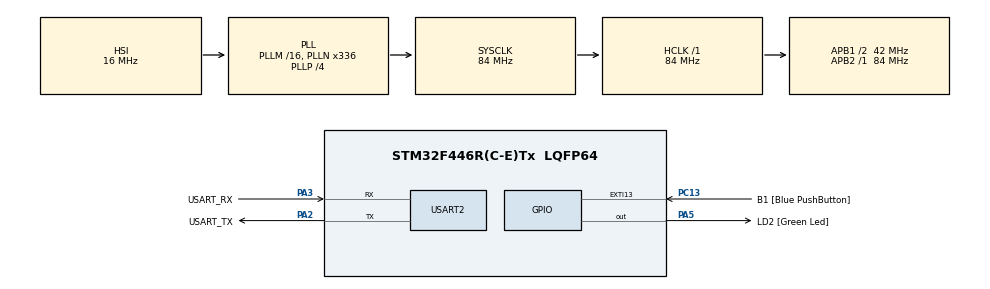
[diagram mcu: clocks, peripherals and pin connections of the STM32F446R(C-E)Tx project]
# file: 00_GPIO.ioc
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Mcu.Family=STM32F4
Mcu.Name=STM32F446R(C-E)Tx
Mcu.Package=LQFP64
NVIC.PriorityGroup=NVIC_PRIORITYGROUP_0
PA13.GPIO_Label=TMS
PA13.Mode=Serial_Wire
PA13.Signal=SYS_JTMS-SWDIO
PA14.GPIO_Label=TCK
PA14.Mode=Serial_Wire
PA14.Signal=SYS_JTCK-SWCLK
PA2.GPIO_Label=USART_TX
PA2.Mode=Asynchronous
PA2.Signal=USART2_TX
PA3.GPIO_Label=USART_RX
PA3.Mode=Asynchronous
PA3.Signal=USART2_RX
PA5.GPIO_Label=LD2 [Green Led]
PA5.Signal=GPIO_Output
PB3.GPIO_Label=SWO
PB3.Signal=SYS_JTDO-SWO
PC13.GPIO_Label=B1 [Blue PushButton]
PC13.GPIO_ModeDefaultEXTI=GPIO_MODE_IT_FALLING
PC13.Signal=GPXTI13
PC14-OSC32_IN.Mode=LSE-External-Oscillator
PC14-OSC32_IN.Signal=RCC_OSC32_IN
PC15-OSC32_OUT.Mode=LSE-External-Oscillator
PC15-OSC32_OUT.Signal=RCC_OSC32_OUT
PH0-OSC_IN.Mode=HSE-External-Oscillator
PH0-OSC_IN.Signal=RCC_OSC_IN
PH1-OSC_OUT.Mode=HSE-External-Oscillator
PH1-OSC_OUT.Signal=RCC_OSC_OUT
ProjectManager.HeapSize=0x200
ProjectManager.StackSize=0x400
ProjectManager.TargetToolchain=STM32CubeIDE
RCC.48MHZClocksFreq_Value=84000000
RCC.AHBFreq_Value=84000000
RCC.APB1CLKDivider=RCC_HCLK_DIV2
RCC.APB1Freq_Value=42000000
RCC.APB1TimFreq_Value=84000000
RCC.APB2Freq_Value=84000000
RCC.APB2TimFreq_Value=84000000
RCC.CortexFreq_Value=84000000
RCC.FLatency-AdvancedSettings=FLASH_LATENCY_2
RCC.HCLKFreq_Value=84000000
RCC.HSE_VALUE=8000000
RCC.HSI_VALUE=16000000
RCC.PLLN=336
RCC.PLLP=RCC_PLLP_DIV4
RCC.SYSCLKFreq_VALUE=84000000
RCC.SYSCLKSource=RCC_SYSCLKSOURCE_PLLCLK
RCC.USBFreq_Value=168000000
RCC.VCOOutputFreq_Value=336000000
USART2.VirtualMode=VM_ASYNC
board=NUCLEO-F446RE

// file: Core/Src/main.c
/* USER CODE BEGIN Header */
/**
  ******************************************************************************
  * @file           : main.c
  * @brief          : Main program body
  ******************************************************************************
  * @attention
  *
  * Copyright (c) 2022 STMicroelectronics.
  * All rights reserved.
  *
  * This software is licensed under terms that can be found in the LICENSE file
  * in the root directory of this software component.
  * If no LICENSE file comes with this software, it is provided AS-IS.
  *
  ******************************************************************************
  */
/* USER CODE END Header */
#include "main.h"

/* USER CODE BEGIN PD */
//#define MASCARA 1
/* USER CODE END PD */

UART_HandleTypeDef huart2;

void SystemClock_Config(void);
static void MX_GPIO_Init(void);
static void MX_USART2_UART_Init(void);
/* USER CODE BEGIN PFP */
void GPIOA_5_inicializa();
/* USER CODE END PFP */

int main(void)
{

  /* MCU Configuration--------------------------------------------------------*/

  /* Reset of all peripherals, Initializes the Flash interface and the Systick. */
  HAL_Init();

  /* Configure the system clock */
  SystemClock_Config();

  /* Initialize all configured peripherals */
  //MX_GPIO_Init();
  MX_USART2_UART_Init();
  /* USER CODE BEGIN 2 */
  GPIOA_5_inicializa();
  /* USER CODE END 2 */

  /* Infinite loop */
  while (1)
  {

    /* USER CODE BEGIN 3 */
	  GPIOA->ODR = 0xFFFF;
	  //GPIOA->ODR |= 1<<5;
	  //GPIOA->ODR |= LD2_Pin;
	  //GPIOA->ODR = GPIOA->ODR | 1<<5;
	  HAL_Delay(500);
	  GPIOA->ODR = 0x0000;
	  //GPIOA->ODR &= ~(1<<5);
	  //GPIOA->ODR &= ~(LD2_Pin);
	  HAL_Delay(500);
  }
  /* USER CODE END 3 */
}

void SystemClock_Config(void)
{
  RCC_OscInitTypeDef RCC_OscInitStruct = {0};
  RCC_ClkInitTypeDef RCC_ClkInitStruct = {0};

  /** Configure the main internal regulator output voltage
  */
  __HAL_RCC_PWR_CLK_ENABLE();
  __HAL_PWR_VOLTAGESCALING_CONFIG(PWR_REGULATOR_VOLTAGE_SCALE3);

  /** Initializes the RCC Oscillators according to the specified parameters
  * in the RCC_OscInitTypeDef structure.
  */
  RCC_OscInitStruct.OscillatorType = RCC_OSCILLATORTYPE_HSI;
  RCC_OscInitStruct.HSIState = RCC_HSI_ON;
  RCC_OscInitStruct.HSICalibrationValue = RCC_HSICALIBRATION_DEFAULT;
  RCC_OscInitStruct.PLL.PLLState = RCC_PLL_ON;
  RCC_OscInitStruct.PLL.PLLSource = RCC_PLLSOURCE_HSI;
  RCC_OscInitStruct.PLL.PLLM = 16;
  RCC_OscInitStruct.PLL.PLLN = 336;
  RCC_OscInitStruct.PLL.PLLP = RCC_PLLP_DIV4;
  RCC_OscInitStruct.PLL.PLLQ = 2;
  RCC_OscInitStruct.PLL.PLLR = 2;
  if (HAL_RCC_OscConfig(&RCC_OscInitStruct) != HAL_OK)
  {
    Error_Handler();
  }

  /** Initializes the CPU, AHB and APB buses clocks
  */
  RCC_ClkInitStruct.ClockType = RCC_CLOCKTYPE_HCLK|RCC_CLOCKTYPE_SYSCLK
                              |RCC_CLOCKTYPE_PCLK1|RCC_CLOCKTYPE_PCLK2;
  RCC_ClkInitStruct.SYSCLKSource = RCC_SYSCLKSOURCE_PLLCLK;
  RCC_ClkInitStruct.AHBCLKDivider = RCC_SYSCLK_DIV1;
  RCC_ClkInitStruct.APB1CLKDivider = RCC_HCLK_DIV2;
  RCC_ClkInitStruct.APB2CLKDivider = RCC_HCLK_DIV1;

  if (HAL_RCC_ClockConfig(&RCC_ClkInitStruct, FLASH_LATENCY_2) != HAL_OK)
  {
    Error_Handler();
  }
}

static void MX_USART2_UART_Init(void)
{

  huart2.Instance = USART2;
  huart2.Init.BaudRate = 115200;
  huart2.Init.WordLength = UART_WORDLENGTH_8B;
  huart2.Init.StopBits = UART_STOPBITS_1;
  huart2.Init.Parity = UART_PARITY_NONE;
  huart2.Init.Mode = UART_MODE_TX_RX;
  huart2.Init.HwFlowCtl = UART_HWCONTROL_NONE;
  huart2.Init.OverSampling = UART_OVERSAMPLING_16;
  if (HAL_UART_Init(&huart2) != HAL_OK)
  {
    Error_Handler();
  }

}

static void MX_GPIO_Init(void)
{
  GPIO_InitTypeDef GPIO_InitStruct = {0};

  /* GPIO Ports Clock Enable */
  __HAL_RCC_GPIOC_CLK_ENABLE();
  __HAL_RCC_GPIOH_CLK_ENABLE();
  __HAL_RCC_GPIOA_CLK_ENABLE();
  __HAL_RCC_GPIOB_CLK_ENABLE();

  /*Configure GPIO pin Output Level */
  HAL_GPIO_WritePin(LD2_GPIO_Port, LD2_Pin, GPIO_PIN_RESET);

  /*Configure GPIO pin : B1_Pin */
  GPIO_InitStruct.Pin = B1_Pin;
  GPIO_InitStruct.Mode = GPIO_MODE_IT_FALLING;
  GPIO_InitStruct.Pull = GPIO_NOPULL;
  HAL_GPIO_Init(B1_GPIO_Port, &GPIO_InitStruct);

  /*Configure GPIO pin : LD2_Pin */
  GPIO_InitStruct.Pin = LD2_Pin;
  GPIO_InitStruct.Mode = GPIO_MODE_OUTPUT_PP;
  GPIO_InitStruct.Pull = GPIO_NOPULL;
  GPIO_InitStruct.Speed = GPIO_SPEED_FREQ_LOW;
  HAL_GPIO_Init(LD2_GPIO_Port, &GPIO_InitStruct);

}

/* USER CODE BEGIN 4 */
//Inicializa o PORTA.5 (led)
void GPIOA_5_inicializa()
{
#if MASCARA
	uint32_t tmpreg = 0;
	RCC->AHB1ENR |= RCC_AHB1ENR_GPIOAEN; //Habilita o clock do PORTA
	tmpreg = RCC->AHB1ENR; //Aguarda estabilizar

	GPIOA->MODER = (GPIOA->MODER & ~GPIO_MODER_MODE5_Msk) | GPIO_MODER_MODE5_0;//M. saída (01)

	GPIOA->OTYPER = (GPIOA->OTYPER & ~GPIO_OTYPER_OT5_Msk); //Tipo push-pull (0)

	GPIOA->OSPEEDR = (GPIOA->OSPEEDR & ~GPIO_OSPEEDR_OSPEED5_Msk) | GPIO_OSPEEDER_OSPEEDR5_1;//Velocidade fast (10)

	GPIOA->PUPDR = (GPIOA->PUPDR & ~GPIO_PUPDR_PUPD5_Msk); //Sem resistores internos (00)

	//GPIOA->ODR = (GPIOA->ODR & ~GPIO_ODR_OD5_Msk); //Estado inicial '0'
	GPIOA->BSRR = GPIO_BSRR_BR5; //Estado inicial resetado '0’
#else
	uint32_t tmpreg = 0;
	RCC->AHB1ENR |= 0x01; //Habilita o clock do PORTA

	tmpreg = RCC->AHB1ENR; //Aguarda estabilizar

	GPIOA->MODER = (GPIOA->MODER & ~(0x3<<(2*5))) | (0x1<<(2*5));//Modo saída (01)

	GPIOA->OTYPER = (GPIOA->OTYPER & ~0x1<<5); //Tipo push-pull (0)

	GPIOA->OSPEEDR = (GPIOA->OSPEEDR & ~(0x3<<(2*5))) | (0x2<<(2*5)); //Velocidade fast (10)

	GPIOA->PUPDR = (GPIOA->PUPDR & ~(0x3<<(2*5))); //Sem resistores internos (00)

	//GPIOA->ODR = (GPIOA->ODR & ~0x1<<5); //Estado inicial '0’
	GPIOA->BSRR = 0x1<<(5+16); //Estado inicial resetado '0’
#endif
}
/* USER CODE END 4 */

void Error_Handler(void)
{
  __disable_irq();
  while (1)
  {
  }
}
